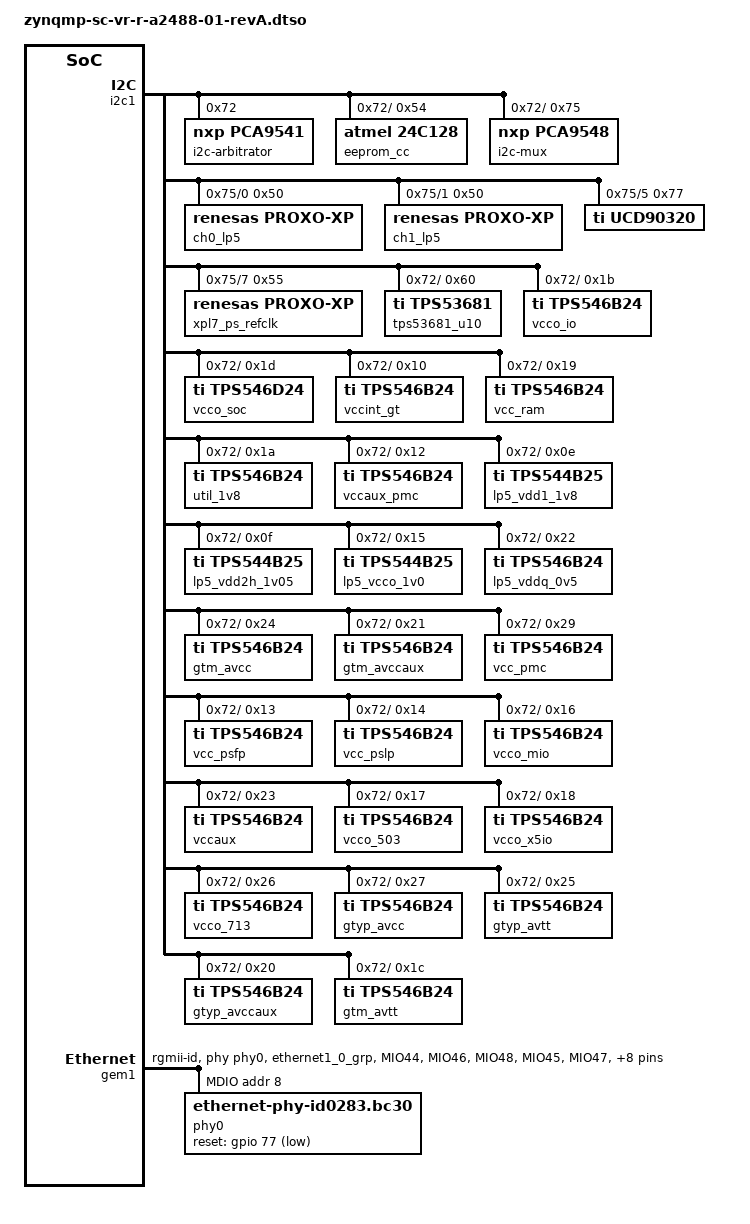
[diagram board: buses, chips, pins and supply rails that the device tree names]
// SPDX-License-Identifier: GPL-2.0
/*
 * dts file for Xilinx ZynqMP VR-R-A2488-01-revA
 *
 * Copyright (C) 2024 - 2025, Advanced Micro Devices, Inc.
 *
 * Michal Simek <michal.simek@amd.com>
 */

#include <dt-bindings/gpio/gpio.h>
#include <dt-bindings/phy/phy.h>
#include <dt-bindings/pinctrl/pinctrl-zynqmp.h>


/dts-v1/;
/plugin/;

/* Compatible with zynqmp-sm-k24-revA.dts */

&{/} {
	compatible = "xlnx,zynqmp-sc-vr-r-a2488-01-revA",
		     "xlnx,zynqmp-sc-vr-r-a2488-01", "xlnx,zynqmp";
	model = "ZynqMP SC VR-R-A2488-01 revA";
};

&i2c1 { /* i2c_main bus */
	#address-cells = <1>;
	#size-cells = <0>;

	/* Remove it because on bus is behind pca9541 */
	eeprom@54 {
		status = "disabled";
	};

	/* J181 for enable/disable */
	i2c-arbitrator@72 { /* u1804 */
		compatible = "nxp,pca9541";
		reg = <0x72>;

		i2c-arb {
			#address-cells = <1>;
			#size-cells = <0>;

			eeprom_cc: eeprom@54 { /* u486 - required by spec - also at address 0x5C */
				compatible = "atmel,24c128";
				label = "eeprom_cc";
				reg = <0x54>;
				/* wp-gpios via FTDI chip */
			};

			i2c-mux@75 { /* u483 */
				compatible = "nxp,pca9548";
				#address-cells = <1>;
				#size-cells = <0>;
				reg = <0x75>;
				/* reset-gpios = SC_I2C_MUX_RST0 */
				i2c@0 { /* I2C_CH0_LPDDR5 */
					#address-cells = <1>;
					#size-cells = <0>;
					reg = <0>;
					ch0_lp5: clock-generator@50 { /* u456, OE via J165 320MHz */
						#clock-cells = <0>;
						compatible = "renesas,proxo-xp";
						reg = <0x50>;
						clock-output-names = "ch0_lp5";
					};
				};
				i2c@1 { /* I2C_CH1_LPDDR5 */
					#address-cells = <1>;
					#size-cells = <0>;
					reg = <1>;
					ch1_lp5: clock-generator@50 { /* u457, OE via J167 320MHz */
						#clock-cells = <0>;
						compatible = "renesas,proxo-xp";
						reg = <0x50>;
						clock-output-names = "ch1_lp5";
					};
				};
				i2c@2 { /* NC */
					#address-cells = <1>;
					#size-cells = <0>;
					reg = <2>;
				};
				i2c@3 { /* NC */
					#address-cells = <1>;
					#size-cells = <0>;
					reg = <3>;
				};
				i2c@4 { /* SI5518 */
					#address-cells = <1>;
					#size-cells = <0>;
					reg = <4>;
					/* u33@60 */
					/* J163 connector */
				};
				i2c@5 { /* SEQ_PMBUS */
					#address-cells = <1>;
					#size-cells = <0>;
					reg = <5>;
					/* J215 connector */
					ucd90320: power-sequencer@77 { /* u438 */
						compatible = "ti,ucd90320";
						reg = <0x77>;
					};
				};
				i2c@6 { /* NC */
					#address-cells = <1>;
					#size-cells = <0>;
					reg = <6>;
				};
				i2c@7 { /* I2C_VERSAL_REF */
					#address-cells = <1>;
					#size-cells = <0>;
					reg = <7>;
					xpl7_ps_refclk: clock-generator@55 { /* u455, OE via J164 50MHz */
						#clock-cells = <0>;
						compatible = "renesas,proxo-xp";
						reg = <0x55>;
						clock-output-names = "xpl7_ps_refclk";
					};
				};
			};

			/* J176 - jumper for enabling INA226_PMBUS */
			/* u1793 dac_avcc_cs ina745@40 */
			/* u1794 dac_avtt_cs ina745@41 */
			/* u1795 dac_avccaux_cs ina745@42 */
			/* u1796 adc_avcc_cs ina745@43 */
			/* u1797 adc_avccaux_cs ina745@44 */

			/* J178 - jumper for enabling PMBUS */
			/* J180 - external connector */
			/* J38 - SAMTEC connector */

			tps53681_u10: tps53681@60 { /* u10 */
				compatible = "ti,tps53681";
				reg = <0x60>;
			};
			vcco_io: regulator@1b { /* u27 */
				compatible = "ti,tps546b24";
				reg = <0x1b>;
			};
			vcco_soc: regulator@1d { /* u325 */
				compatible = "ti,tps546d24";
				reg = <0x1d>;
			};
			vccint_gt: regulator@10 { /* u22 */
				compatible = "ti,tps546b24";
				reg = <0x10>;
			};
			vcc_ram: regulator@19 { /* u29 */
				compatible = "ti,tps546b24";
				reg = <0x19>;
			};
			util_1v8: regulator@1a { /* u436 */
				compatible = "ti,tps546b24";
				reg = <0x1a>;
			};
			vccaux_pmc: regulator@12 { /* u1791 */
				compatible = "ti,tps546b24";
				reg = <0x12>;
			};
			lp5_vdd1_1v8: regulator@e { /* u448 */
				compatible = "ti,tps544b25";
				reg = <0xe>;
			};
			lp5_vdd2h_1v05: regulator@f { /* u449 */
				compatible = "ti,tps544b25";
				reg = <0xf>;
			};
			lp5_vcco_1v0: regulator@15 { /* u452 */
				compatible = "ti,tps544b25";
				reg = <0x15>;
			};
			lp5_vddq_0v5: regulator@22 { /* u453 */
				compatible = "ti,tps546b24";
				reg = <0x22>;
			};
			gtm_avcc: regulator@24 { /* u8 */
				compatible = "ti,tps546b24";
				reg = <0x24>;
			};
			gtm_avccaux: regulator@21 { /* u9 */
				compatible = "ti,tps546b24";
				reg = <0x21>;
			};

			/* J177 - jumper for enabling LEFT_PMBUS */
			vcc_pmc: regulator@29 { /* u28 */
				compatible = "ti,tps546b24";
				reg = <0x29>;
			};
			vcc_psfp: regulator@13 { /* u20 */
				compatible = "ti,tps546b24";
				reg = <0x13>;
			};
			vcc_pslp: regulator@14 { /* u21 */
				compatible = "ti,tps546b24";
				reg = <0x14>;
			};
			vcco_mio: regulator@16 { /* u30 */
				compatible = "ti,tps546b24";
				reg = <0x16>;
			};
			vccaux: regulator@23 { /* u24 */
				compatible = "ti,tps546b24";
				reg = <0x23>;
			};
			vcco_503: regulator@17 { /* u1733 */
				compatible = "ti,tps546b24";
				reg = <0x17>;
			};
			vcco_x5io: regulator@18 { /* u26 */
				compatible = "ti,tps546b24";
				reg = <0x18>;
			};
			vcco_713: regulator@26 { /* u1792 */
				compatible = "ti,tps546b24";
				reg = <0x26>;
			};
			gtyp_avcc: regulator@27 { /* u6 */
				compatible = "ti,tps546b24";
				reg = <0x27>;
			};
			gtyp_avtt: regulator@25 { /* u23 */
				compatible = "ti,tps546b24";
				reg = <0x25>;
			};
			gtyp_avccaux: regulator@20 { /* u7 */
				compatible = "ti,tps546b24";
				reg = <0x20>;
			};
			gtm_avtt: regulator@1c { /* u19 */
				compatible = "ti,tps546b24";
				reg = <0x1c>;
			};
		};
	};

	/* J182 - jumper for enabling PMC_I2C */
	/* J183 - jumper for enabling X5IO_L7 */
};

&gem1 { /* gem1 MIO38-49, MDIO MIO50/51 */
	status = "okay";
	phy-mode = "rgmii-id";
	phy-handle = <&phy0>;
	pinctrl-names = "default";
	pinctrl-0 = <&pinctrl_gem1_default>;

	mdio: mdio {
		#address-cells = <1>;
		#size-cells = <0>;

		phy0: ethernet-phy@8 { /* ADI1300 - u500 */
			#phy-cells = <1>;
			compatible = "ethernet-phy-id0283.bc30";
			reg = <8>;
			adi,rx-internal-delay-ps = <2400>;
			adi,tx-internal-delay-ps = <2400>;
			adi,fifo-depth-bits = <8>;
			reset-gpios = <&gpio 77 GPIO_ACTIVE_LOW>;
			reset-assert-us = <10>;
			reset-deassert-us = <5000>;
		};
	};
};

&pinctrl0 { /* required by spec */
	status = "okay";

	pinctrl_gem1_default: gem1-default {
		conf {
			groups = "ethernet1_0_grp";
			slew-rate = <SLEW_RATE_SLOW>;
			power-source = <IO_STANDARD_LVCMOS18>;
		};

		conf-rx {
			pins = "MIO44", "MIO46", "MIO48";
			bias-high-impedance;
			low-power-disable;
		};

		conf-bootstrap {
			pins = "MIO45", "MIO47", "MIO49";
			bias-disable;
			low-power-disable;
		};

		conf-tx {
			pins = "MIO38", "MIO39", "MIO40",
				"MIO41", "MIO42", "MIO43";
			bias-disable;
			low-power-enable;
		};

		conf-mdio {
			groups = "mdio1_0_grp";
			slew-rate = <SLEW_RATE_SLOW>;
			power-source = <IO_STANDARD_LVCMOS18>;
			bias-disable;
		};

		mux-mdio {
			function = "mdio1";
			groups = "mdio1_0_grp";
		};

		mux {
			function = "ethernet1";
			groups = "ethernet1_0_grp";
		};
	};
};

&zynqmp_dpsub {
	status = "disabled";
};
